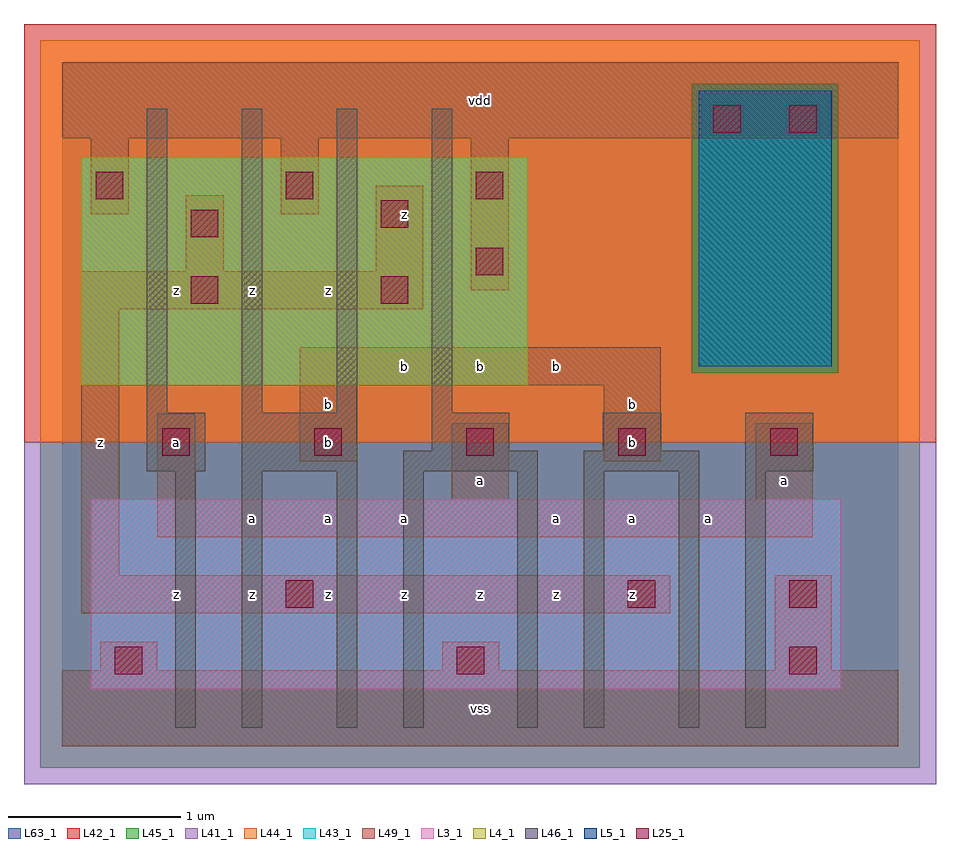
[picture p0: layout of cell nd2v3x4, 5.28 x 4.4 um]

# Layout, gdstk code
import gdstk
lib = gdstk.Library(unit=1e-6, precision=1e-09)
def R(c, l, rs):  # rectangles x0, y0, x1, y1
    for r in rs: c.add(gdstk.rectangle(r[:2], r[2:], *l))
def A(c, l, x, y, w, h, nx, ny, dx, dy):  # array of equal rectangles
    R(c, l, [(x+i*dx, y+j*dy, x+i*dx+w, y+j*dy+h) for i in range(nx) for j in range(ny)])
L3_1 = (3, 1)
L4_1 = (4, 1)
L5_1 = (5, 1)
L25_1 = (25, 1)
L41_1 = (41, 1)
L42_1 = (42, 1)
L43_1 = (43, 1)
L44_1 = (44, 1)
L45_1 = (45, 1)
L46_1 = (46, 1)
L49_1 = (49, 1)
L63_1 = (63, 1)

nd2v3x4 = lib.new_cell('nd2v3x4')
R(nd2v3x4, L3_1, [(0.165,0.33,4.51,1.43)])
R(nd2v3x4, L4_1, [(0.11,2.09,2.695,3.41)])
R(nd2v3x4, L5_1, [(3.685,2.2,4.455,3.795)])
A(nd2v3x4, L25_1, 0.58, 1.68, 0.16, 0.16, 5, 1, 0.88, 0)
A(nd2v3x4, L25_1, 0.195, 3.165, 0.16, 0.16, 3, 1, 1.1, 0)
R(nd2v3x4, L25_1, [(0.305,0.415,0.465,0.575), (2.285,0.415,2.445,0.575), (4.21,0.415,4.37,0.575), (1.295,0.8,1.455,0.96), (3.275,0.8,3.435,0.96), (4.21,0.8,4.37,0.96), (0.745,2.56,0.905,2.72), (1.845,2.56,2.005,2.72), (2.395,2.725,2.555,2.885), (0.745,2.945,0.905,3.105), (1.845,3,2.005,3.16), (3.77,3.55,3.93,3.71), (4.21,3.55,4.37,3.71)])
R(nd2v3x4, L41_1, [(-0.22,-0.22,5.06,1.76)])
R(nd2v3x4, L42_1, [(-0.22,1.76,5.06,4.18)])
R(nd2v3x4, L43_1, [(0.165,0.33,4.51,1.43), (0.11,2.09,2.695,3.41), (3.685,2.2,4.455,3.795)])
R(nd2v3x4, L44_1, [(-0.125,1.76,4.965,2.16), (-0.125,2.16,3.645,3.835), (4.495,2.16,4.965,3.835), (-0.125,3.835,4.965,4.085)])
R(nd2v3x4, L45_1, [(-0.125,-0.125,4.965,1.76), (3.645,2.16,4.495,3.835)])
A(nd2v3x4, L46_1, 0.49, 1.93, 0.12, 1.76, 4, 1, 0.55, 0)
R(nd2v3x4, L46_1, [(0.655,0.105,0.775,1.59), (1.04,0.105,1.16,1.59), (1.59,0.105,1.71,1.59), (1.975,0.105,2.095,1.59), (2.635,0.105,2.755,1.59), (3.02,0.105,3.14,1.59), (3.57,0.105,3.69,1.59), (3.955,0.105,4.075,1.59), (0.49,1.59,0.83,1.93), (1.04,1.59,1.71,1.93), (1.975,1.59,2.755,1.71), (3.02,1.59,3.69,1.71), (3.955,1.59,4.35,1.93), (2.14,1.71,2.59,1.93), (3.13,1.71,3.47,1.93)])
R(nd2v3x4, L49_1, [(0,0,4.84,0.44), (0.22,0.44,0.55,0.605), (2.2,0.44,2.53,0.605), (4.125,0.44,4.455,0.99), (0.11,0.77,3.52,0.99), (0.11,0.99,0.33,2.53), (0.55,1.21,4.345,1.43), (0.55,1.43,0.77,1.925), (2.255,1.43,2.585,1.87), (4.015,1.43,4.345,1.87), (1.375,1.65,1.705,2.09), (3.135,1.65,3.465,2.09), (1.375,2.09,3.465,2.31), (0.11,2.53,2.09,2.75), (2.365,2.64,2.585,3.52), (0.715,2.75,0.935,3.19), (1.815,2.75,2.09,3.245), (0.165,3.08,0.385,3.52), (1.265,3.08,1.485,3.52), (0,3.52,4.84,3.96)])
R(nd2v3x4, L63_1, [(0,0,4.84,3.96)])
nd2v3x4.add(gdstk.Label('z', (0.66,0.88), layer=49, texttype=1))
nd2v3x4.add(gdstk.Label('a', (0.66,1.76), layer=49, texttype=1))
nd2v3x4.add(gdstk.Label('z', (0.22,1.76), layer=49, texttype=1))
nd2v3x4.add(gdstk.Label('z', (0.66,2.64), layer=49, texttype=1))
nd2v3x4.add(gdstk.Label('z', (1.1,0.88), layer=49, texttype=1))
nd2v3x4.add(gdstk.Label('z', (1.54,0.88), layer=49, texttype=1))
nd2v3x4.add(gdstk.Label('a', (1.1,1.32), layer=49, texttype=1))
nd2v3x4.add(gdstk.Label('a', (1.54,1.32), layer=49, texttype=1))
nd2v3x4.add(gdstk.Label('b', (1.54,1.76), layer=49, texttype=1))
nd2v3x4.add(gdstk.Label('b', (1.54,1.98), layer=49, texttype=1))
nd2v3x4.add(gdstk.Label('z', (1.1,2.64), layer=49, texttype=1))
nd2v3x4.add(gdstk.Label('z', (1.54,2.64), layer=49, texttype=1))
nd2v3x4.add(gdstk.Label('vss', (2.42,0.22), layer=49, texttype=1))
nd2v3x4.add(gdstk.Label('z', (2.42,0.88), layer=49, texttype=1))
nd2v3x4.add(gdstk.Label('z', (1.98,0.88), layer=49, texttype=1))
nd2v3x4.add(gdstk.Label('a', (1.98,1.32), layer=49, texttype=1))
nd2v3x4.add(gdstk.Label('a', (2.42,1.54), layer=49, texttype=1))
nd2v3x4.add(gdstk.Label('b', (1.98,2.2), layer=49, texttype=1))
nd2v3x4.add(gdstk.Label('b', (2.42,2.2), layer=49, texttype=1))
nd2v3x4.add(gdstk.Label('z', (1.98,3.08), layer=49, texttype=1))
nd2v3x4.add(gdstk.Label('vdd', (2.42,3.74), layer=49, texttype=1))
nd2v3x4.add(gdstk.Label('z', (3.3,0.88), layer=49, texttype=1))
nd2v3x4.add(gdstk.Label('z', (2.86,0.88), layer=49, texttype=1))
nd2v3x4.add(gdstk.Label('a', (2.86,1.32), layer=49, texttype=1))
nd2v3x4.add(gdstk.Label('a', (3.3,1.32), layer=49, texttype=1))
nd2v3x4.add(gdstk.Label('a', (3.74,1.32), layer=49, texttype=1))
nd2v3x4.add(gdstk.Label('b', (3.3,1.76), layer=49, texttype=1))
nd2v3x4.add(gdstk.Label('b', (2.86,2.2), layer=49, texttype=1))
nd2v3x4.add(gdstk.Label('b', (3.3,1.98), layer=49, texttype=1))
nd2v3x4.add(gdstk.Label('a', (4.18,1.54), layer=49, texttype=1))

lib.write_gds('nd2v3x4.gds')
